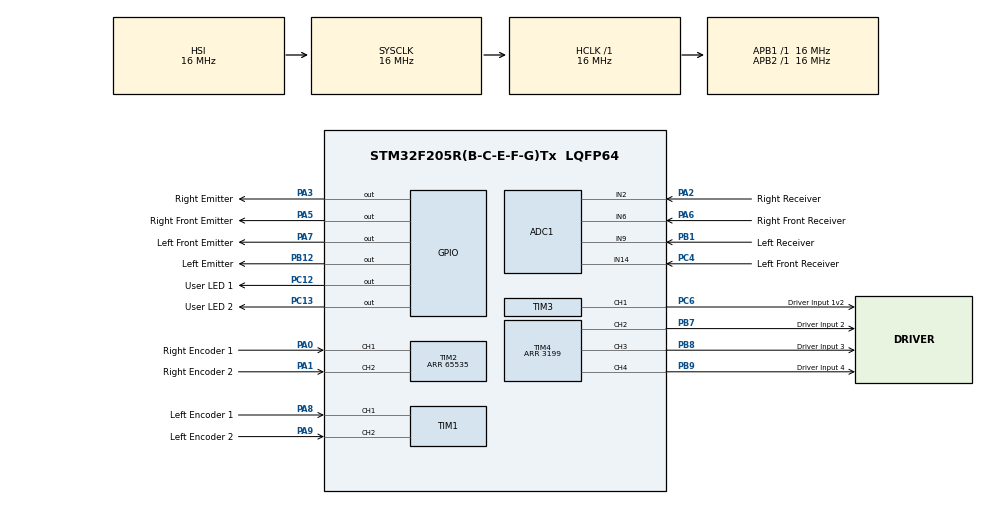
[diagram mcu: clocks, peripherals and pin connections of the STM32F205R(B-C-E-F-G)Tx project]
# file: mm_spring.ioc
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ADC1.Channel-0\#ChannelRegularConversion=ADC_CHANNEL_9
ADC1.ContinuousConvMode=ENABLE
ADC1.DMAContinuousRequests=ENABLE
ADC1.NbrOfConversionFlag=1
ADC1.Rank-0\#ChannelRegularConversion=1
ADC1.SamplingTime-0\#ChannelRegularConversion=ADC_SAMPLETIME_3CYCLES
ADC1.master=1
Dma.ADC1.0.Direction=DMA_PERIPH_TO_MEMORY
Dma.ADC1.0.FIFOMode=DMA_FIFOMODE_DISABLE
Dma.ADC1.0.Instance=DMA2_Stream0
Dma.ADC1.0.MemDataAlignment=DMA_MDATAALIGN_HALFWORD
Dma.ADC1.0.MemInc=DMA_MINC_ENABLE
Dma.ADC1.0.Mode=DMA_CIRCULAR
Dma.ADC1.0.PeriphDataAlignment=DMA_PDATAALIGN_HALFWORD
Dma.ADC1.0.PeriphInc=DMA_PINC_DISABLE
Dma.ADC1.0.Priority=DMA_PRIORITY_LOW
Dma.Request0=ADC1
Mcu.Family=STM32F2
Mcu.Name=STM32F205R(B-C-E-F-G)Tx
Mcu.Package=LQFP64
NVIC.DMA2_Stream0_IRQn=true\:0\:0\:false\:false\:true\:false\:true\:true
NVIC.PriorityGroup=NVIC_PRIORITYGROUP_4
NVIC.TIM3_IRQn=true\:0\:0\:false\:false\:true\:true\:true\:true
NVIC.TIM4_IRQn=true\:0\:0\:false\:false\:true\:true\:true\:true
PA0-WKUP.GPIO_Label=Right Encoder 1
PA0-WKUP.Signal=S_TIM2_CH1_ETR
PA1.GPIO_Label=Right Encoder 2
PA1.Signal=S_TIM2_CH2
PA13.Mode=Serial_Wire
PA13.Signal=SYS_JTMS-SWDIO
PA14.Mode=Serial_Wire
PA14.Signal=SYS_JTCK-SWCLK
PA2.GPIO_Label=Right Receiver
PA2.Signal=ADCx_IN2
PA3.GPIO_Label=Right Emitter
PA3.Signal=GPIO_Output
PA5.GPIO_Label=Right Front Emitter
PA5.Signal=GPIO_Output
PA6.GPIO_Label=Right Front Receiver
PA6.Signal=ADCx_IN6
PA7.GPIO_Label=Left Front Emitter
PA7.Signal=GPIO_Output
PA8.GPIO_Label=Left Encoder 1
PA8.Signal=S_TIM1_CH1
PA9.GPIO_Label=Left Encoder 2
PA9.Signal=S_TIM1_CH2
PB1.GPIO_Label=Left Receiver
PB1.Signal=ADCx_IN9
PB12.GPIO_Label=Left Emitter
PB12.Signal=GPIO_Output
PB7.GPIO_Label=Driver Input 2
PB7.Signal=S_TIM4_CH2
PB8.GPIO_Label=Driver Input 3
PB8.Signal=S_TIM4_CH3
PB9.GPIO_Label=Driver Input 4
PB9.Signal=S_TIM4_CH4
PC12.GPIO_Label=User LED 1
PC12.PinState=GPIO_PIN_RESET
PC12.Signal=GPIO_Output
PC13.GPIO_Label=User LED 2
PC13.PinState=GPIO_PIN_RESET
PC13.Signal=GPIO_Output
PC4.GPIO_Label=Left Front Receiver
PC4.Signal=ADCx_IN14
PC6.GPIO_Label=Driver Input 1v2
PC6.Signal=S_TIM3_CH1
ProjectManager.HeapSize=0x200
ProjectManager.StackSize=0x400
ProjectManager.TargetToolchain=STM32CubeIDE
RCC.48MHZClocksFreq_Value=48000000
RCC.AHBFreq_Value=16000000
RCC.APB1Freq_Value=16000000
RCC.APB2Freq_Value=16000000
RCC.CortexFreq_Value=16000000
RCC.HSE_VALUE=25000000
RCC.HSI_VALUE=16000000
RCC.LSE_VALUE=32768
RCC.SYSCLKFreq_VALUE=16000000
RCC.VCOOutputFreq_Value=192000000
SH.ADCx_IN14.0=ADC1_IN14,IN14
SH.ADCx_IN2.0=ADC1_IN2,IN2
SH.ADCx_IN6.0=ADC1_IN6,IN6
SH.ADCx_IN9.0=ADC1_IN9,IN9
SH.S_TIM1_CH1.0=TIM1_CH1,Encoder_Interface
SH.S_TIM1_CH2.0=TIM1_CH2,Encoder_Interface
SH.S_TIM2_CH1_ETR.0=TIM2_CH1,Encoder_Interface
SH.S_TIM2_CH2.0=TIM2_CH2,Encoder_Interface
SH.S_TIM3_CH1.0=TIM3_CH1,PWM Generation1 CH1
SH.S_TIM4_CH2.0=TIM4_CH2,PWM Generation2 CH2
SH.S_TIM4_CH3.0=TIM4_CH3,PWM Generation3 CH3
SH.S_TIM4_CH4.0=TIM4_CH4,PWM Generation4 CH4
TIM1.EncoderMode=TIM_ENCODERMODE_TI12
TIM2.Period=65535
TIM3.Channel-PWM\ Generation1\ CH1=TIM_CHANNEL_1
TIM3.Period=3199
TIM4.Channel-PWM\ Generation2\ CH2=TIM_CHANNEL_2
TIM4.Channel-PWM\ Generation3\ CH3=TIM_CHANNEL_3
TIM4.Channel-PWM\ Generation4\ CH4=TIM_CHANNEL_4
TIM4.Period=3199
board=custom

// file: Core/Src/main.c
/* USER CODE BEGIN Header */
/**
  ******************************************************************************
  * @file           : main.c
  * @brief          : Main program body
  ******************************************************************************
  * @attention
  *
  * Copyright (c) 2025 STMicroelectronics.
  * All rights reserved.
  *
  * This software is licensed under terms that can be found in the LICENSE file
  * in the root directory of this software component.
  * If no LICENSE file comes with this software, it is provided AS-IS.
  *
  ******************************************************************************
  */
/* USER CODE END Header */
#include "main.h"

ADC_HandleTypeDef hadc1;
DMA_HandleTypeDef hdma_adc1;

TIM_HandleTypeDef htim1;
TIM_HandleTypeDef htim2;
TIM_HandleTypeDef htim3;
TIM_HandleTypeDef htim4;

/* USER CODE BEGIN PV */
int16_t left_counts = 0;
int16_t right_counts = 0;
uint16_t left_em = 0;
uint16_t fl_em = 0;
uint16_t fr_em = 0;
uint16_t right_em = 0;

/* USER CODE END PV */

void SystemClock_Config(void);
static void MX_GPIO_Init(void);
static void MX_DMA_Init(void);
static void MX_ADC1_Init(void);
static void MX_TIM1_Init(void);
static void MX_TIM2_Init(void);
static void MX_TIM4_Init(void);
static void MX_TIM3_Init(void);

int main(void)
{

  /* MCU Configuration--------------------------------------------------------*/

  /* Reset of all peripherals, Initializes the Flash interface and the Systick. */
  HAL_Init();

  /* USER CODE BEGIN Init */

  Delay_Init();

  /* USER CODE END Init */

  /* Configure the system clock */
  SystemClock_Config();

  /* Initialize all configured peripherals */
  MX_GPIO_Init();
  MX_DMA_Init();
  MX_ADC1_Init();
  MX_TIM1_Init();
  MX_TIM2_Init();
  MX_TIM4_Init();
  MX_TIM3_Init();
  /* USER CODE BEGIN 2 */
  HAL_TIM_Encoder_Start(&htim1, TIM_CHANNEL_ALL);
  HAL_TIM_Encoder_Start(&htim2, TIM_CHANNEL_ALL);
  HAL_TIM_PWM_Start(&htim3, TIM_CHANNEL_1);
  HAL_TIM_PWM_Start(&htim4, TIM_CHANNEL_2);
  HAL_TIM_PWM_Start(&htim4, TIM_CHANNEL_3);
  HAL_TIM_PWM_Start(&htim4, TIM_CHANNEL_4);

//  TIM3->CCR1 = 1600;
//  TIM4->CCR2 = 1600;
//  TIM4->CCR3 = 1600;

  // "1" and 3: forward
  // "1" and 4: right
  // 2 and 3: left
  // 2 and 4: backwards
//
//  setMotorLPWM(1.8f);
//  setMotorRPWM(-1.8f);
//  HAL_Delay(1000);
//  move(1);
//  HAL_Delay(1000);
//  turn(1);
//  move(3);
//  turn(1);
//  move(1);
  /* USER CODE END 2 */

  /* Infinite loop */
  /* USER CODE BEGIN WHILE */
  while (1)
  {
	  left_counts = (int16_t) TIM1->CNT;
	  right_counts = (int16_t) TIM2->CNT;
	  left_em = readLeftIR();
//	  left_em = 5;
	  fl_em = readFrontLeftIR();
	  fr_em = readFrontRightIR();
	  right_em = readRightIR();

//	  HAL_GPIO_WritePin(Test_GPIO_Port, Test_Pin, GPIO_PIN_SET);

//#define Test_Pin GPIO_PIN_6
//#define Test_GPIO_Port GPIOB

//	  if (GPIO_PIN == Button_Pin)
//	  {
//	  HAL_GPIO_WritePin(User_LED_1_GPIO_Port,User_LED_1_Pin, GPIO_PIN_SET);
////	  User_LED_1_Pin GPIO_PIN_12
////	  #define User_LED_1_GPIO_Port GPIOC
//	  HAL_Delay(500);
//	  HAL_GPIO_WritePin(User_LED_1_GPIO_Port,User_LED_1_Pin, GPIO_PIN_RESET);
//	  HAL_Delay(500);
// User_LED_2_Pin GPIO_PIN_13
		  //User_LED_1_Pin GPIO_PIN_12
	  	/* Your code goes here */
//	  }

    /* USER CODE END WHILE */

  }
}

void SystemClock_Config(void)
{
  RCC_OscInitTypeDef RCC_OscInitStruct = {0};
  RCC_ClkInitTypeDef RCC_ClkInitStruct = {0};

  /** Initializes the RCC Oscillators according to the specified parameters
  * in the RCC_OscInitTypeDef structure.
  */
  RCC_OscInitStruct.OscillatorType = RCC_OSCILLATORTYPE_HSI;
  RCC_OscInitStruct.HSIState = RCC_HSI_ON;
  RCC_OscInitStruct.HSICalibrationValue = RCC_HSICALIBRATION_DEFAULT;
  RCC_OscInitStruct.PLL.PLLState = RCC_PLL_NONE;
  if (HAL_RCC_OscConfig(&RCC_OscInitStruct) != HAL_OK)
  {
    Error_Handler();
  }

  /** Initializes the CPU, AHB and APB buses clocks
  */
  RCC_ClkInitStruct.ClockType = RCC_CLOCKTYPE_HCLK|RCC_CLOCKTYPE_SYSCLK
                              |RCC_CLOCKTYPE_PCLK1|RCC_CLOCKTYPE_PCLK2;
  RCC_ClkInitStruct.SYSCLKSource = RCC_SYSCLKSOURCE_HSI;
  RCC_ClkInitStruct.AHBCLKDivider = RCC_SYSCLK_DIV1;
  RCC_ClkInitStruct.APB1CLKDivider = RCC_HCLK_DIV1;
  RCC_ClkInitStruct.APB2CLKDivider = RCC_HCLK_DIV1;

  if (HAL_RCC_ClockConfig(&RCC_ClkInitStruct, FLASH_LATENCY_0) != HAL_OK)
  {
    Error_Handler();
  }
}

static void MX_ADC1_Init(void)
{

  ADC_ChannelConfTypeDef sConfig = {0};

  /** Configure the global features of the ADC (Clock, Resolution, Data Alignment and number of conversion)
  */
  hadc1.Instance = ADC1;
  hadc1.Init.ClockPrescaler = ADC_CLOCK_SYNC_PCLK_DIV2;
  hadc1.Init.Resolution = ADC_RESOLUTION_12B;
  hadc1.Init.ScanConvMode = DISABLE;
  hadc1.Init.ContinuousConvMode = ENABLE;
  hadc1.Init.DiscontinuousConvMode = DISABLE;
  hadc1.Init.ExternalTrigConvEdge = ADC_EXTERNALTRIGCONVEDGE_NONE;
  hadc1.Init.ExternalTrigConv = ADC_SOFTWARE_START;
  hadc1.Init.DataAlign = ADC_DATAALIGN_RIGHT;
  hadc1.Init.NbrOfConversion = 1;
  hadc1.Init.DMAContinuousRequests = ENABLE;
  hadc1.Init.EOCSelection = ADC_EOC_SINGLE_CONV;
  if (HAL_ADC_Init(&hadc1) != HAL_OK)
  {
    Error_Handler();
  }

  /** Configure for the selected ADC regular channel its corresponding rank in the sequencer and its sample time.
  */
  sConfig.Channel = ADC_CHANNEL_9;
  sConfig.Rank = 1;
  sConfig.SamplingTime = ADC_SAMPLETIME_3CYCLES;
  if (HAL_ADC_ConfigChannel(&hadc1, &sConfig) != HAL_OK)
  {
    Error_Handler();
  }

}

static void MX_TIM1_Init(void)
{

  TIM_Encoder_InitTypeDef sConfig = {0};
  TIM_MasterConfigTypeDef sMasterConfig = {0};

  htim1.Instance = TIM1;
  htim1.Init.Prescaler = 0;
  htim1.Init.CounterMode = TIM_COUNTERMODE_UP;
  htim1.Init.Period = 65535;
  htim1.Init.ClockDivision = TIM_CLOCKDIVISION_DIV1;
  htim1.Init.RepetitionCounter = 0;
  htim1.Init.AutoReloadPreload = TIM_AUTORELOAD_PRELOAD_DISABLE;
  sConfig.EncoderMode = TIM_ENCODERMODE_TI12;
  sConfig.IC1Polarity = TIM_ICPOLARITY_RISING;
  sConfig.IC1Selection = TIM_ICSELECTION_DIRECTTI;
  sConfig.IC1Prescaler = TIM_ICPSC_DIV1;
  sConfig.IC1Filter = 0;
  sConfig.IC2Polarity = TIM_ICPOLARITY_RISING;
  sConfig.IC2Selection = TIM_ICSELECTION_DIRECTTI;
  sConfig.IC2Prescaler = TIM_ICPSC_DIV1;
  sConfig.IC2Filter = 0;
  if (HAL_TIM_Encoder_Init(&htim1, &sConfig) != HAL_OK)
  {
    Error_Handler();
  }
  sMasterConfig.MasterOutputTrigger = TIM_TRGO_RESET;
  sMasterConfig.MasterSlaveMode = TIM_MASTERSLAVEMODE_DISABLE;
  if (HAL_TIMEx_MasterConfigSynchronization(&htim1, &sMasterConfig) != HAL_OK)
  {
    Error_Handler();
  }

}

static void MX_TIM2_Init(void)
{

  TIM_Encoder_InitTypeDef sConfig = {0};
  TIM_MasterConfigTypeDef sMasterConfig = {0};

  htim2.Instance = TIM2;
  htim2.Init.Prescaler = 0;
  htim2.Init.CounterMode = TIM_COUNTERMODE_UP;
  htim2.Init.Period = 65535;
  htim2.Init.ClockDivision = TIM_CLOCKDIVISION_DIV1;
  htim2.Init.AutoReloadPreload = TIM_AUTORELOAD_PRELOAD_DISABLE;
  sConfig.EncoderMode = TIM_ENCODERMODE_TI1;
  sConfig.IC1Polarity = TIM_ICPOLARITY_RISING;
  sConfig.IC1Selection = TIM_ICSELECTION_DIRECTTI;
  sConfig.IC1Prescaler = TIM_ICPSC_DIV1;
  sConfig.IC1Filter = 0;
  sConfig.IC2Polarity = TIM_ICPOLARITY_RISING;
  sConfig.IC2Selection = TIM_ICSELECTION_DIRECTTI;
  sConfig.IC2Prescaler = TIM_ICPSC_DIV1;
  sConfig.IC2Filter = 0;
  if (HAL_TIM_Encoder_Init(&htim2, &sConfig) != HAL_OK)
  {
    Error_Handler();
  }
  sMasterConfig.MasterOutputTrigger = TIM_TRGO_RESET;
  sMasterConfig.MasterSlaveMode = TIM_MASTERSLAVEMODE_DISABLE;
  if (HAL_TIMEx_MasterConfigSynchronization(&htim2, &sMasterConfig) != HAL_OK)
  {
    Error_Handler();
  }

}

static void MX_TIM3_Init(void)
{

  TIM_MasterConfigTypeDef sMasterConfig = {0};
  TIM_OC_InitTypeDef sConfigOC = {0};

  htim3.Instance = TIM3;
  htim3.Init.Prescaler = 0;
  htim3.Init.CounterMode = TIM_COUNTERMODE_UP;
  htim3.Init.Period = 3199;
  htim3.Init.ClockDivision = TIM_CLOCKDIVISION_DIV1;
  htim3.Init.AutoReloadPreload = TIM_AUTORELOAD_PRELOAD_DISABLE;
  if (HAL_TIM_PWM_Init(&htim3) != HAL_OK)
  {
    Error_Handler();
  }
  sMasterConfig.MasterOutputTrigger = TIM_TRGO_RESET;
  sMasterConfig.MasterSlaveMode = TIM_MASTERSLAVEMODE_DISABLE;
  if (HAL_TIMEx_MasterConfigSynchronization(&htim3, &sMasterConfig) != HAL_OK)
  {
    Error_Handler();
  }
  sConfigOC.OCMode = TIM_OCMODE_PWM1;
  sConfigOC.Pulse = 0;
  sConfigOC.OCPolarity = TIM_OCPOLARITY_HIGH;
  sConfigOC.OCFastMode = TIM_OCFAST_DISABLE;
  if (HAL_TIM_PWM_ConfigChannel(&htim3, &sConfigOC, TIM_CHANNEL_1) != HAL_OK)
  {
    Error_Handler();
  }
  HAL_TIM_MspPostInit(&htim3);

}

static void MX_TIM4_Init(void)
{

  TIM_MasterConfigTypeDef sMasterConfig = {0};
  TIM_OC_InitTypeDef sConfigOC = {0};

  htim4.Instance = TIM4;
  htim4.Init.Prescaler = 0;
  htim4.Init.CounterMode = TIM_COUNTERMODE_UP;
  htim4.Init.Period = 3199;
  htim4.Init.ClockDivision = TIM_CLOCKDIVISION_DIV1;
  htim4.Init.AutoReloadPreload = TIM_AUTORELOAD_PRELOAD_DISABLE;
  if (HAL_TIM_PWM_Init(&htim4) != HAL_OK)
  {
    Error_Handler();
  }
  sMasterConfig.MasterOutputTrigger = TIM_TRGO_RESET;
  sMasterConfig.MasterSlaveMode = TIM_MASTERSLAVEMODE_DISABLE;
  if (HAL_TIMEx_MasterConfigSynchronization(&htim4, &sMasterConfig) != HAL_OK)
  {
    Error_Handler();
  }
  sConfigOC.OCMode = TIM_OCMODE_PWM1;
  sConfigOC.Pulse = 0;
  sConfigOC.OCPolarity = TIM_OCPOLARITY_HIGH;
  sConfigOC.OCFastMode = TIM_OCFAST_DISABLE;
  if (HAL_TIM_PWM_ConfigChannel(&htim4, &sConfigOC, TIM_CHANNEL_2) != HAL_OK)
  {
    Error_Handler();
  }
  if (HAL_TIM_PWM_ConfigChannel(&htim4, &sConfigOC, TIM_CHANNEL_3) != HAL_OK)
  {
    Error_Handler();
  }
  if (HAL_TIM_PWM_ConfigChannel(&htim4, &sConfigOC, TIM_CHANNEL_4) != HAL_OK)
  {
    Error_Handler();
  }
  HAL_TIM_MspPostInit(&htim4);

}

static void MX_DMA_Init(void)
{

  /* DMA controller clock enable */
  __HAL_RCC_DMA2_CLK_ENABLE();

  /* DMA interrupt init */
  /* DMA2_Stream0_IRQn interrupt configuration */
  HAL_NVIC_SetPriority(DMA2_Stream0_IRQn, 0, 0);
  HAL_NVIC_EnableIRQ(DMA2_Stream0_IRQn);

}

static void MX_GPIO_Init(void)
{
  GPIO_InitTypeDef GPIO_InitStruct = {0};

  /* GPIO Ports Clock Enable */
  __HAL_RCC_GPIOC_CLK_ENABLE();
  __HAL_RCC_GPIOA_CLK_ENABLE();
  __HAL_RCC_GPIOB_CLK_ENABLE();

  /*Configure GPIO pin Output Level */
  HAL_GPIO_WritePin(GPIOC, User_LED_2_Pin|User_LED_1_Pin, GPIO_PIN_RESET);

  /*Configure GPIO pin Output Level */
  HAL_GPIO_WritePin(GPIOA, Right_Emitter_Pin|Right_Front_Emitter_Pin|Left_Front_Emitter_Pin, GPIO_PIN_RESET);

  /*Configure GPIO pin Output Level */
  HAL_GPIO_WritePin(Left_Emitter_GPIO_Port, Left_Emitter_Pin, GPIO_PIN_RESET);

  /*Configure GPIO pins : User_LED_2_Pin User_LED_1_Pin */
  GPIO_InitStruct.Pin = User_LED_2_Pin|User_LED_1_Pin;
  GPIO_InitStruct.Mode = GPIO_MODE_OUTPUT_PP;
  GPIO_InitStruct.Pull = GPIO_NOPULL;
  GPIO_InitStruct.Speed = GPIO_SPEED_FREQ_LOW;
  HAL_GPIO_Init(GPIOC, &GPIO_InitStruct);

  /*Configure GPIO pins : Right_Emitter_Pin Right_Front_Emitter_Pin Left_Front_Emitter_Pin */
  GPIO_InitStruct.Pin = Right_Emitter_Pin|Right_Front_Emitter_Pin|Left_Front_Emitter_Pin;
  GPIO_InitStruct.Mode = GPIO_MODE_OUTPUT_PP;
  GPIO_InitStruct.Pull = GPIO_NOPULL;
  GPIO_InitStruct.Speed = GPIO_SPEED_FREQ_LOW;
  HAL_GPIO_Init(GPIOA, &GPIO_InitStruct);

  /*Configure GPIO pin : Left_Emitter_Pin */
  GPIO_InitStruct.Pin = Left_Emitter_Pin;
  GPIO_InitStruct.Mode = GPIO_MODE_OUTPUT_PP;
  GPIO_InitStruct.Pull = GPIO_NOPULL;
  GPIO_InitStruct.Speed = GPIO_SPEED_FREQ_LOW;
  HAL_GPIO_Init(Left_Emitter_GPIO_Port, &GPIO_InitStruct);

}

/* USER CODE BEGIN 4 */

ADC_HandleTypeDef* Get_HADC1_Ptr(void)
{
	return &hadc1;
}

/* USER CODE END 4 */

void Error_Handler(void)
{
  __disable_irq();
  while (1)
  {
  }
}
